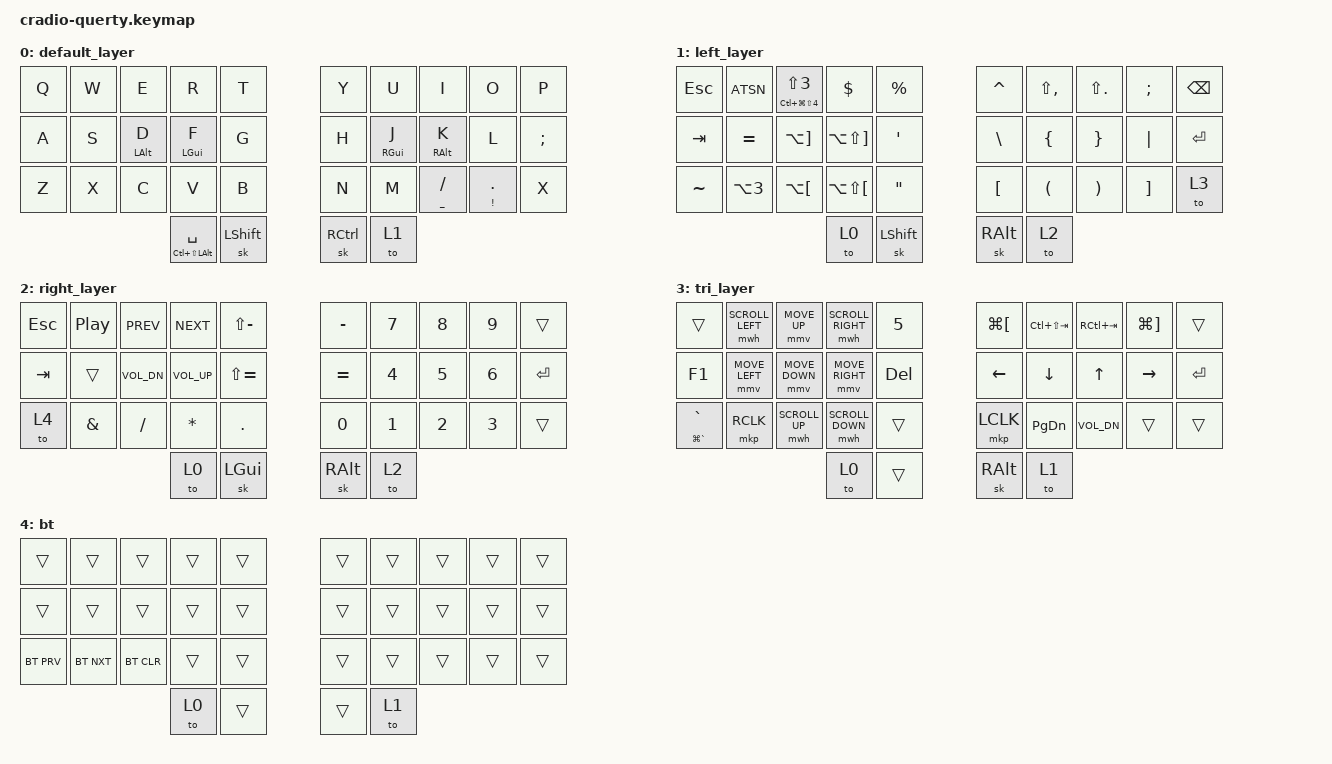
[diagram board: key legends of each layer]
/*
* Copyright (c) 2020 The ZMK Contributors
*
* SPDX-License-Identifier: MIT
*/

// REFERENCE: https://github.com/benvallack/zmk-config/blob/84ae125986b18e1e6dfb1f2a6a15777429f29520/config/cradio.keymap
// https://www.youtube.com/watch?v=8wZ8FRwOzhU&list=PLCZYyvXAdQpsEWfa6OEBOhHn48SWgneoD&index=8

#include <behaviors.dtsi>
#include <dt-bindings/zmk/keys.h>
#include <dt-bindings/zmk/bt.h>
#include <dt-bindings/zmk/mouse.h>


&mt {
    flavor = "tap-preferred";
    tapping_term_ms = <200>;
};

&mmv {
    time-to-max-speed-ms = <680>;
    acceleration-exponent=<2>;
};
/ { 


behaviors {
    hm: homerow_mods {
        compatible = "zmk,behavior-hold-tap";
        label = "HOMEROW_MODS";
        #binding-cells = <2>;
        tapping-term-ms = <200>;
        quick_tap_ms = <0>;
        flavor = "tap-preferred";
        bindings = <&kp>, <&kp>;
    };
    td: tapdance {
        compatible = "zmk,behavior-hold-tap";
        label = "TAPDANCE";
        #binding-cells = <2>;
        tapping-term-ms = <150>;
        quick_tap_ms = <0>;
        flavor = "tap-preferred";
        bindings = <&kp>, <&kp>;
    };
};

keymap {
    compatible = "zmk,keymap";

    //layer 1
    default_layer { //                                              |
            //                                                                                                     &td MINUS COMMA  &kp BKSP
            // TODO replace X key
        bindings = <
            &kp Q &kp W &kp E      &kp R                &kp T            &kp Y     &kp U      &kp I                &kp O            &kp P
            &kp A &kp S &hm LALT D &hm LGUI F           &kp G            &kp H     &hm RGUI J &hm RALT K           &kp L            &kp SEMI
            &kp Z &kp X &kp C      &kp V                &kp B            &kp N     &kp M      &td UNDERSCORE SLASH &td EXCL DOT     &kp X
                                   &mt LC(LS(LALT)) SPC &sk LSHIFT       &sk RCTRL &to 1
        >;
    };

    //layer 2
    left_layer { //                                                                        |
        bindings = <
            &kp ESC   &kp ATSN    &td LC(LG(LS(N4))) LS(N3) &kp DLLR          &kp PRCNT        &kp CARET &kp LS(COMMA) &kp LS(DOT) &kp SEMI  &kp BKSP 
            &kp TAB   &kp EQUAL   &kp LA(RBKT)              &kp LA(LS(RBKT))  &kp SQT          &kp BSLH  &kp LBRC      &kp RBRC    &kp PIPE  &kp ENTER
            &kp TILDE &kp LA(N3)  &kp LA(LBKT)              &kp LA(LS(LBKT))  &kp DQT          &kp LBKT  &kp LPRN      &kp RPRN    &kp RBKT  &to 3 
                                                            &to 0             &sk LSHIFT       &sk RALT  &to 2 
        >;
    };

    //layer 4
    right_layer { //                                                    |
        bindings = <
            &kp ESC  &kp C_PP &kp C_PREV   &kp C_NEXT   &kp LS(MINUS)       &kp MINUS &kp N7 &kp N8 &kp N9 &trans
            &kp TAB  &trans   &kp C_VOL_DN &kp C_VOL_UP &kp LS(EQUAL)       &kp EQUAL &kp N4 &kp N5 &kp N6 &kp ENTER
            &to 4    &kp AMPS &kp SLASH    &kp STAR     &kp DOT             &kp N0    &kp N1 &kp N2 &kp N3 &trans
                                           &to 0        &sk LGUI            &sk RALT  &to 2
        >;
    };

    //layer 3
    tri_layer { //                                                                           |
        bindings = <
            &trans              &mwh SCROLL_LEFT &mmv MOVE_UP   &mwh SCROLL_RIGHT &kp NUM_5      &kp LG(LBKT) &kp LC(LS(TAB))   &kp RC(TAB)   &kp LG(RBKT) &trans
            &kp F1              &mmv MOVE_LEFT   &mmv MOVE_DOWN &mmv MOVE_RIGHT   &kp DEL        &kp LEFT     &kp DOWN          &kp UP        &kp RIGHT    &kp ENTER 
            &td LG(GRAVE) GRAVE &mkp RCLK        &mwh SCROLL_UP &mwh SCROLL_DOWN  &trans         &mkp LCLK    &kp PG_DN         &kp K_VOL_DN  &trans       &trans   
                                                                &to 0             &trans         &sk RALT     &to 1 
        >;
    }; 

    bt { //                                                   |
        bindings = <
            &trans      &trans     &trans     &trans &trans       &trans &trans &trans &trans &trans 
            &trans      &trans     &trans     &trans &trans       &trans &trans &trans &trans &trans 
            &bt BT_PRV  &bt BT_NXT &bt BT_CLR &trans &trans       &trans &trans &trans &trans &trans   
                                              &to 0  &trans       &trans &to 1
        >;
    }; 

};
};
